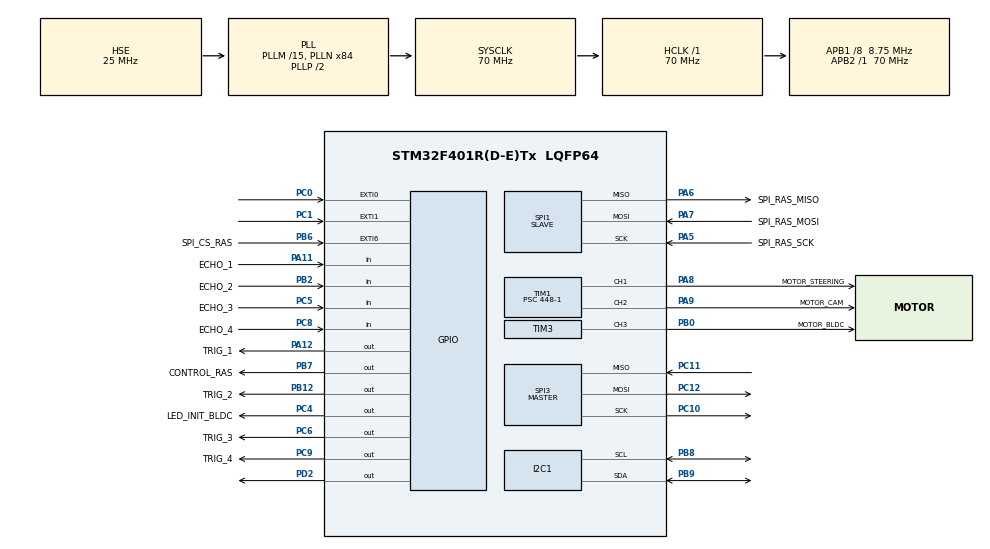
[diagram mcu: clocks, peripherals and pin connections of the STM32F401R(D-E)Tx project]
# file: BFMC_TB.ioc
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FREERTOS.Tasks01=getDataIMU,2,128,StartgetDataIMU,Default,NULL,Dynamic,NULL,NULL;situation,1,128,StartSituation,Default,NULL,Dynamic,NULL,NULL;controlSteering,-1,128,StartControlSteering,Default,NULL,Dynamic,NULL,NULL;ps2Control,2,128,startps2Control,Default,NULL,Dynamic,NULL,NULL;receiveDataSpi,2,128,StartreceiveDataSpi,Default,NULL,Dynamic,NULL,NULL;getDistance_SR0,3,128,StartgetDistance_SR04,Default,NULL,Dynamic,NULL,NULL
FREERTOS.configENABLE_FPU=1
FREERTOS.configUSE_TIMERS=1
I2C1.I2C_Mode=I2C_Fast
Mcu.Family=STM32F4
Mcu.Name=STM32F401R(D-E)Tx
Mcu.Package=LQFP64
NVIC.EXTI0_IRQn=true\:5\:0\:false\:false\:true\:true\:true\:true\:true
NVIC.EXTI1_IRQn=true\:5\:0\:false\:false\:true\:true\:true\:true\:true
NVIC.EXTI9_5_IRQn=true\:5\:0\:true\:false\:true\:true\:true\:true\:true
NVIC.PriorityGroup=NVIC_PRIORITYGROUP_4
NVIC.SPI1_IRQn=true\:5\:0\:false\:false\:true\:true\:true\:true\:true
NVIC.TIM5_IRQn=true\:15\:0\:false\:false\:true\:false\:false\:true\:true
NVIC.TimeBase=TIM5_IRQn
NVIC.TimeBaseIP=TIM5
PA11.GPIO_Label=ECHO_1
PA11.Signal=GPIO_Input
PA12.GPIO_Label=TRIG_1
PA12.Signal=GPIO_Output
PA13.Mode=Serial_Wire
PA13.Signal=SYS_JTMS-SWDIO
PA14.Mode=Serial_Wire
PA14.Signal=SYS_JTCK-SWCLK
PA5.GPIO_Label=SPI_RAS_SCK
PA5.Mode=Full_Duplex_Slave
PA5.Signal=SPI1_SCK
PA6.GPIO_Label=SPI_RAS_MISO
PA6.Mode=Full_Duplex_Slave
PA6.Signal=SPI1_MISO
PA7.GPIO_Label=SPI_RAS_MOSI
PA7.Mode=Full_Duplex_Slave
PA7.Signal=SPI1_MOSI
PA8.GPIO_Label=MOTOR_STEERING
PA8.Signal=S_TIM1_CH1
PA9.GPIO_Label=MOTOR_CAM
PA9.Signal=S_TIM1_CH2
PB0.GPIO_Label=MOTOR_BLDC
PB0.Signal=S_TIM3_CH3
PB12.GPIO_Label=TRIG_2
PB12.Signal=GPIO_Output
PB2.GPIO_Label=ECHO_2
PB2.GPIO_PuPd=GPIO_NOPULL
PB2.Signal=GPIO_Input
PB6.GPIO_Label=SPI_CS_RAS
PB6.GPIO_ModeDefaultEXTI=GPIO_MODE_IT_RISING_FALLING
PB6.GPIO_PuPd=GPIO_PULLUP
PB6.Signal=GPXTI6
PB7.GPIO_Label=CONTROL_RAS
PB7.Signal=GPIO_Output
PB8.Mode=I2C
PB8.Signal=I2C1_SCL
PB9.Mode=I2C
PB9.Signal=I2C1_SDA
PC0.GPIO_ModeDefaultEXTI=GPIO_MODE_IT_RISING_FALLING
PC0.GPIO_PuPd=GPIO_PULLUP
PC0.Signal=GPXTI0
PC1.GPIO_ModeDefaultEXTI=GPIO_MODE_IT_RISING_FALLING
PC1.GPIO_PuPd=GPIO_PULLUP
PC1.Signal=GPXTI1
PC10.Mode=Full_Duplex_Master
PC10.Signal=SPI3_SCK
PC11.Mode=Full_Duplex_Master
PC11.Signal=SPI3_MISO
PC12.Mode=Full_Duplex_Master
PC12.Signal=SPI3_MOSI
PC4.GPIO_Label=LED_INIT_BLDC
PC4.Signal=GPIO_Output
PC5.GPIO_Label=ECHO_3
PC5.Signal=GPIO_Input
PC6.GPIO_Label=TRIG_3
PC6.Signal=GPIO_Output
PC8.GPIO_Label=ECHO_4
PC8.Signal=GPIO_Input
PC9.GPIO_Label=TRIG_4
PC9.Signal=GPIO_Output
PD2.Signal=GPIO_Output
PH0\ -\ OSC_IN.Mode=HSE-External-Oscillator
PH0\ -\ OSC_IN.Signal=RCC_OSC_IN
PH1\ -\ OSC_OUT.Mode=HSE-External-Oscillator
PH1\ -\ OSC_OUT.Signal=RCC_OSC_OUT
ProjectManager.HeapSize=0x200
ProjectManager.StackSize=0x400
ProjectManager.TargetToolchain=STM32CubeIDE
RCC.48MHZClocksFreq_Value=35000000
RCC.AHBFreq_Value=70000000
RCC.APB1CLKDivider=RCC_HCLK_DIV8
RCC.APB1Freq_Value=8750000
RCC.APB1TimFreq_Value=17500000
RCC.APB2Freq_Value=70000000
RCC.APB2TimFreq_Value=70000000
RCC.CortexFreq_Value=70000000
RCC.HCLKFreq_Value=70000000
RCC.HSE_VALUE=25000000
RCC.HSI_VALUE=16000000
RCC.LSE_VALUE=32768
RCC.PLLM=15
RCC.PLLN=84
RCC.PLLSourceVirtual=RCC_PLLSOURCE_HSE
RCC.SYSCLKFreq_VALUE=70000000
RCC.SYSCLKSource=RCC_SYSCLKSOURCE_PLLCLK
RCC.VCOOutputFreq_Value=140000000
SH.S_TIM1_CH1.0=TIM1_CH1,PWM Generation1 CH1
SH.S_TIM1_CH2.0=TIM1_CH2,PWM Generation2 CH2
SH.S_TIM3_CH3.0=TIM3_CH3,PWM Generation3 CH3
SPI1.CLKPhase=SPI_PHASE_2EDGE
SPI1.DataSize=SPI_DATASIZE_16BIT
SPI1.Direction=SPI_DIRECTION_2LINES
SPI1.Mode=SPI_MODE_SLAVE
SPI1.VirtualType=VM_SLAVE
SPI3.BaudRatePrescaler=SPI_BAUDRATEPRESCALER_128
SPI3.CLKPhase=SPI_PHASE_2EDGE
SPI3.CLKPolarity=SPI_POLARITY_HIGH
SPI3.Direction=SPI_DIRECTION_2LINES
SPI3.FirstBit=SPI_FIRSTBIT_LSB
SPI3.Mode=SPI_MODE_MASTER
SPI3.VirtualType=VM_MASTER
TIM1.Channel-PWM\ Generation1\ CH1=TIM_CHANNEL_1
TIM1.Channel-PWM\ Generation2\ CH2=TIM_CHANNEL_2
TIM1.Period=1000-1
TIM1.Prescaler=448-1
TIM3.Channel-PWM\ Generation3\ CH3=TIM_CHANNEL_3
TIM3.Period=1000-1
TIM3.Prescaler=112-1
TIM4.Channel-PWM\ Generation2\ CH2=TIM_CHANNEL_2
TIM4.Prescaler=70-1
VP_FREERTOS_VS_CMSIS_V1.Mode=CMSIS_V1
VP_SYS_VS_tim5.Mode=TIM5
VP_TIM3_VS_ClockSourceINT.Mode=Internal
VP_TIM4_VS_ClockSourceINT.Mode=Internal
board=custom

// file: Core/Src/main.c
/* USER CODE BEGIN Header */
/**
 ******************************************************************************
 * @file           : main.c
 * @brief          : Main program body
 ******************************************************************************
 * @attention
 *
 * Copyright (c) 2024 STMicroelectronics.
 * All rights reserved.
 *
 * This software is licensed under terms that can be found in the LICENSE file
 * in the root directory of this software component.
 * If no LICENSE file comes with this software, it is provided AS-IS.
 *
 ******************************************************************************
 */
/* USER CODE END Header */
#include "main.h"
#include "cmsis_os.h"

/* USER CODE BEGIN Includes */
#include "bldc_motor.h"
#include "hc_sr04.h"
#include "servo_motor.h"
#include "ps2.h"
#include "mpu9250_app.h"
#include "debug.h"
#include "situation.h"

/* USER CODE END Includes */

I2C_HandleTypeDef hi2c1;

SPI_HandleTypeDef hspi1;
SPI_HandleTypeDef hspi3;

TIM_HandleTypeDef htim1;
TIM_HandleTypeDef htim3;
TIM_HandleTypeDef htim4;

osThreadId getDataIMUHandle;
osThreadId situationHandle;
osThreadId controlSteeringHandle;
osThreadId ps2ControlHandle;
osThreadId receiveDataSpiHandle;
osThreadId getDistance_SR0Handle;
/* USER CODE BEGIN PV */

// Queue send data
static QueueHandle_t queue_data = NULL;

// EventGroup
static EventGroupHandle_t controlEvent;

// Semaphore enable receive data
static SemaphoreHandle_t receiveSemaphore;

// BLDC motor driver

static bldc_motor_t *bldc_motor_0;
// Servo Motor driver

static servo_motor_t *steering_motor_p;

// SR04 measure distance from car to barrier

static SR04Driver_t *sr04_0;
static SR04Driver_t *sr04_1;
static SR04Driver_t *sr04_2;
static SR04Driver_t *sr04_3;

static sr04_state_t state_sr04;

static servo_motor_t *camera_motor_p;

// imu9250

static imu_9250_t *imu_9250_p;
uint16_t error;
static Struct_Angle Angle;
uint32_t temp_systick = 0;
static float yaw_angle_init = 0;
// Variable of SPI

// data is receive from spi communication
uint8_t data_receiv;

// array store data after receiving from spi communication
static uint8_t spi_buff[5];

// index in array, position of data
uint8_t spi_datapos = 0;

// flag notify complete receive data
static uint8_t spi_flag = 0;

/* USER CODE END PV */

void SystemClock_Config(void);
static void MX_GPIO_Init(void);
static void MX_I2C1_Init(void);
static void MX_SPI1_Init(void);
static void MX_TIM1_Init(void);
static void MX_TIM3_Init(void);
static void MX_TIM4_Init(void);
static void MX_SPI3_Init(void);
void StartgetDataIMU(void const * argument);
void StartSituation(void const * argument);
void StartControlSteering(void const * argument);
void startps2Control(void const * argument);
void StartreceiveDataSpi(void const * argument);
void StartgetDistance_SR04(void const * argument);

/* USER CODE BEGIN 0 */
extern void calibrateGyro(imu_9250_t *mpu9250, uint16_t numCalPoints);

// Interrupt function of spi (RX)

void HAL_SPI_RxCpltCallback(SPI_HandleTypeDef *hspi)
{
    BaseType_t xhigherprioritytaskwoken = pdFALSE;
    if (hspi->Instance == hspi1.Instance)
    {
        HAL_SPI_Receive_IT(&hspi1, &data_receiv, 1);

		spi_buff[(spi_datapos++)] = data_receiv;
		if (spi_datapos == 5)
		{
			spi_datapos = 0;
			spi_flag = 1;
		}
//      xTaskNotifyFromISR(receiveDataSpiHandle, 0, eNotifyAction, &xhigherprioritytaskwoken);
    }
    if(xhigherprioritytaskwoken)
    {
    	taskYIELD();
    }
}

void HAL_GPIO_EXTI_Callback(uint16_t GPIO_Pin)
{
    /*if (GPIO_Pin == GPIO_PIN_1)
    {
        if (((GPIOC->IDR) & (0b00000010)) == 0)
        else
        {
            spi_flag++;
        }
        spi_datapos = 0;
    }*/
}
static inline void SPI_Handle_Data(void)
{
//  if (spi_flag == 1)
//  {
//    // send queue
//    xQueueSend(queue_data, (void *)&rx_buff, 0);
//    spi_flag = 0;
//  }

}

/* USER CODE END 0 */

int main(void)
{

  /* MCU Configuration--------------------------------------------------------*/

  /* Reset of all peripherals, Initializes the Flash interface and the Systick. */
  HAL_Init();

  /* Configure the system clock */
  SystemClock_Config();

  /* Initialize all configured peripherals */
  MX_GPIO_Init();
  MX_I2C1_Init();
  MX_SPI1_Init();
  MX_TIM1_Init();
  MX_TIM3_Init();
  MX_TIM4_Init();
  MX_SPI3_Init();
  /* USER CODE BEGIN 2 */

  // Initialization driver
  bldc_motor_0 = BLDC_MOTOR_Create(&htim3, TIM_CHANNEL_3);
  steering_motor_p = SERVO_MOTOR_Create(&htim1, TIM_CHANNEL_1);
  HAL_Delay(2000);
  bldc_motor_0->speed = MEDIUM_SPEED;
  bldc_motor_0->direction = COUNTER_CLOCKWISE;
  bldc_motor_0->set_speed(bldc_motor_0);

  controlEvent = xEventGroupCreate();
  queue_data = xQueueCreate(5, sizeof(uint8_t));
  receiveSemaphore = xSemaphoreCreateBinary();

  camera_motor_p = SERVO_MOTOR_Create(&htim1, TIM_CHANNEL_2);

  sr04_0 = SR04_Create(&htim4, TRIG_1_GPIO_Port, TRIG_1_Pin, ECHO_1_GPIO_Port, ECHO_1_Pin);
  sr04_1 = SR04_Create(&htim4, TRIG_2_GPIO_Port, TRIG_2_Pin, ECHO_2_GPIO_Port, ECHO_2_Pin);
  sr04_2 = SR04_Create(&htim4, TRIG_3_GPIO_Port, TRIG_3_Pin, ECHO_3_GPIO_Port, ECHO_3_Pin);
  sr04_3 = SR04_Create(&htim4, TRIG_4_GPIO_Port, TRIG_4_Pin, ECHO_4_GPIO_Port, ECHO_4_Pin);
  imu_9250_p = IMU_9250_Create();
  calibrateGyro(imu_9250_p, 999);

  /* USER CODE END 2 */

  /* Create the thread(s) */
  /* definition and creation of getDataIMU */
  osThreadDef(getDataIMU, StartgetDataIMU, osPriorityHigh, 0, 128);
  getDataIMUHandle = osThreadCreate(osThread(getDataIMU), NULL);

  /* definition and creation of situation */
  osThreadDef(situation, StartSituation, osPriorityAboveNormal, 0, 128);
  situationHandle = osThreadCreate(osThread(situation), NULL);

  /* definition and creation of controlSteering */
  osThreadDef(controlSteering, StartControlSteering, osPriorityBelowNormal, 0, 128);
  controlSteeringHandle = osThreadCreate(osThread(controlSteering), NULL);

  /* definition and creation of ps2Control */
  osThreadDef(ps2Control, startps2Control, osPriorityHigh, 0, 128);
  ps2ControlHandle = osThreadCreate(osThread(ps2Control), NULL);

  /* definition and creation of receiveDataSpi */
  osThreadDef(receiveDataSpi, StartreceiveDataSpi, osPriorityHigh, 0, 128);
  receiveDataSpiHandle = osThreadCreate(osThread(receiveDataSpi), NULL);

  /* definition and creation of getDistance_SR0 */
  osThreadDef(getDistance_SR0, StartgetDistance_SR04, osPriorityRealtime, 0, 128);
  getDistance_SR0Handle = osThreadCreate(osThread(getDistance_SR0), NULL);

  /* Start scheduler */
  osKernelStart();

  /* We should never get here as control is now taken by the scheduler */
  /* Infinite loop */
  while (1)
  {

  }
}

void SystemClock_Config(void)
{
  RCC_OscInitTypeDef RCC_OscInitStruct = {0};
  RCC_ClkInitTypeDef RCC_ClkInitStruct = {0};

  /** Configure the main internal regulator output voltage
  */
  __HAL_RCC_PWR_CLK_ENABLE();
  __HAL_PWR_VOLTAGESCALING_CONFIG(PWR_REGULATOR_VOLTAGE_SCALE2);

  /** Initializes the RCC Oscillators according to the specified parameters
  * in the RCC_OscInitTypeDef structure.
  */
  RCC_OscInitStruct.OscillatorType = RCC_OSCILLATORTYPE_HSE;
  RCC_OscInitStruct.HSEState = RCC_HSE_ON;
  RCC_OscInitStruct.PLL.PLLState = RCC_PLL_ON;
  RCC_OscInitStruct.PLL.PLLSource = RCC_PLLSOURCE_HSE;
  RCC_OscInitStruct.PLL.PLLM = 15;
  RCC_OscInitStruct.PLL.PLLN = 84;
  RCC_OscInitStruct.PLL.PLLP = RCC_PLLP_DIV2;
  RCC_OscInitStruct.PLL.PLLQ = 4;
  if (HAL_RCC_OscConfig(&RCC_OscInitStruct) != HAL_OK)
  {
    Error_Handler();
  }

  /** Initializes the CPU, AHB and APB buses clocks
  */
  RCC_ClkInitStruct.ClockType = RCC_CLOCKTYPE_HCLK|RCC_CLOCKTYPE_SYSCLK
                              |RCC_CLOCKTYPE_PCLK1|RCC_CLOCKTYPE_PCLK2;
  RCC_ClkInitStruct.SYSCLKSource = RCC_SYSCLKSOURCE_PLLCLK;
  RCC_ClkInitStruct.AHBCLKDivider = RCC_SYSCLK_DIV1;
  RCC_ClkInitStruct.APB1CLKDivider = RCC_HCLK_DIV8;
  RCC_ClkInitStruct.APB2CLKDivider = RCC_HCLK_DIV1;

  if (HAL_RCC_ClockConfig(&RCC_ClkInitStruct, FLASH_LATENCY_2) != HAL_OK)
  {
    Error_Handler();
  }
}

static void MX_I2C1_Init(void)
{

  hi2c1.Instance = I2C1;
  hi2c1.Init.ClockSpeed = 400000;
  hi2c1.Init.DutyCycle = I2C_DUTYCYCLE_2;
  hi2c1.Init.OwnAddress1 = 0;
  hi2c1.Init.AddressingMode = I2C_ADDRESSINGMODE_7BIT;
  hi2c1.Init.DualAddressMode = I2C_DUALADDRESS_DISABLE;
  hi2c1.Init.OwnAddress2 = 0;
  hi2c1.Init.GeneralCallMode = I2C_GENERALCALL_DISABLE;
  hi2c1.Init.NoStretchMode = I2C_NOSTRETCH_DISABLE;
  if (HAL_I2C_Init(&hi2c1) != HAL_OK)
  {
    Error_Handler();
  }

}

static void MX_SPI1_Init(void)
{

  /* SPI1 parameter configuration*/
  hspi1.Instance = SPI1;
  hspi1.Init.Mode = SPI_MODE_SLAVE;
  hspi1.Init.Direction = SPI_DIRECTION_2LINES;
  hspi1.Init.DataSize = SPI_DATASIZE_16BIT;
  hspi1.Init.CLKPolarity = SPI_POLARITY_LOW;
  hspi1.Init.CLKPhase = SPI_PHASE_2EDGE;
  hspi1.Init.NSS = SPI_NSS_SOFT;
  hspi1.Init.FirstBit = SPI_FIRSTBIT_MSB;
  hspi1.Init.TIMode = SPI_TIMODE_DISABLE;
  hspi1.Init.CRCCalculation = SPI_CRCCALCULATION_DISABLE;
  hspi1.Init.CRCPolynomial = 10;
  if (HAL_SPI_Init(&hspi1) != HAL_OK)
  {
    Error_Handler();
  }

}

static void MX_SPI3_Init(void)
{

  /* SPI3 parameter configuration*/
  hspi3.Instance = SPI3;
  hspi3.Init.Mode = SPI_MODE_MASTER;
  hspi3.Init.Direction = SPI_DIRECTION_2LINES;
  hspi3.Init.DataSize = SPI_DATASIZE_8BIT;
  hspi3.Init.CLKPolarity = SPI_POLARITY_HIGH;
  hspi3.Init.CLKPhase = SPI_PHASE_2EDGE;
  hspi3.Init.NSS = SPI_NSS_SOFT;
  hspi3.Init.BaudRatePrescaler = SPI_BAUDRATEPRESCALER_128;
  hspi3.Init.FirstBit = SPI_FIRSTBIT_LSB;
  hspi3.Init.TIMode = SPI_TIMODE_DISABLE;
  hspi3.Init.CRCCalculation = SPI_CRCCALCULATION_DISABLE;
  hspi3.Init.CRCPolynomial = 10;
  if (HAL_SPI_Init(&hspi3) != HAL_OK)
  {
    Error_Handler();
  }

}

static void MX_TIM1_Init(void)
{

  TIM_MasterConfigTypeDef sMasterConfig = {0};
  TIM_OC_InitTypeDef sConfigOC = {0};
  TIM_BreakDeadTimeConfigTypeDef sBreakDeadTimeConfig = {0};

  htim1.Instance = TIM1;
  htim1.Init.Prescaler = 448-1;
  htim1.Init.CounterMode = TIM_COUNTERMODE_UP;
  htim1.Init.Period = 1000-1;
  htim1.Init.ClockDivision = TIM_CLOCKDIVISION_DIV1;
  htim1.Init.RepetitionCounter = 0;
  htim1.Init.AutoReloadPreload = TIM_AUTORELOAD_PRELOAD_DISABLE;
  if (HAL_TIM_PWM_Init(&htim1) != HAL_OK)
  {
    Error_Handler();
  }
  sMasterConfig.MasterOutputTrigger = TIM_TRGO_RESET;
  sMasterConfig.MasterSlaveMode = TIM_MASTERSLAVEMODE_DISABLE;
  if (HAL_TIMEx_MasterConfigSynchronization(&htim1, &sMasterConfig) != HAL_OK)
  {
    Error_Handler();
  }
  sConfigOC.OCMode = TIM_OCMODE_PWM1;
  sConfigOC.Pulse = 0;
  sConfigOC.OCPolarity = TIM_OCPOLARITY_HIGH;
  sConfigOC.OCNPolarity = TIM_OCNPOLARITY_HIGH;
  sConfigOC.OCFastMode = TIM_OCFAST_DISABLE;
  sConfigOC.OCIdleState = TIM_OCIDLESTATE_RESET;
  sConfigOC.OCNIdleState = TIM_OCNIDLESTATE_RESET;
  if (HAL_TIM_PWM_ConfigChannel(&htim1, &sConfigOC, TIM_CHANNEL_1) != HAL_OK)
  {
    Error_Handler();
  }
  if (HAL_TIM_PWM_ConfigChannel(&htim1, &sConfigOC, TIM_CHANNEL_2) != HAL_OK)
  {
    Error_Handler();
  }
  sBreakDeadTimeConfig.OffStateRunMode = TIM_OSSR_DISABLE;
  sBreakDeadTimeConfig.OffStateIDLEMode = TIM_OSSI_DISABLE;
  sBreakDeadTimeConfig.LockLevel = TIM_LOCKLEVEL_OFF;
  sBreakDeadTimeConfig.DeadTime = 0;
  sBreakDeadTimeConfig.BreakState = TIM_BREAK_DISABLE;
  sBreakDeadTimeConfig.BreakPolarity = TIM_BREAKPOLARITY_HIGH;
  sBreakDeadTimeConfig.AutomaticOutput = TIM_AUTOMATICOUTPUT_DISABLE;
  if (HAL_TIMEx_ConfigBreakDeadTime(&htim1, &sBreakDeadTimeConfig) != HAL_OK)
  {
    Error_Handler();
  }
  HAL_TIM_MspPostInit(&htim1);

}

static void MX_TIM3_Init(void)
{

  TIM_ClockConfigTypeDef sClockSourceConfig = {0};
  TIM_MasterConfigTypeDef sMasterConfig = {0};
  TIM_OC_InitTypeDef sConfigOC = {0};

  htim3.Instance = TIM3;
  htim3.Init.Prescaler = 112-1;
  htim3.Init.CounterMode = TIM_COUNTERMODE_UP;
  htim3.Init.Period = 1000-1;
  htim3.Init.ClockDivision = TIM_CLOCKDIVISION_DIV1;
  htim3.Init.AutoReloadPreload = TIM_AUTORELOAD_PRELOAD_DISABLE;
  if (HAL_TIM_Base_Init(&htim3) != HAL_OK)
  {
    Error_Handler();
  }
  sClockSourceConfig.ClockSource = TIM_CLOCKSOURCE_INTERNAL;
  if (HAL_TIM_ConfigClockSource(&htim3, &sClockSourceConfig) != HAL_OK)
  {
    Error_Handler();
  }
  if (HAL_TIM_PWM_Init(&htim3) != HAL_OK)
  {
    Error_Handler();
  }
  sMasterConfig.MasterOutputTrigger = TIM_TRGO_RESET;
  sMasterConfig.MasterSlaveMode = TIM_MASTERSLAVEMODE_DISABLE;
  if (HAL_TIMEx_MasterConfigSynchronization(&htim3, &sMasterConfig) != HAL_OK)
  {
    Error_Handler();
  }
  sConfigOC.OCMode = TIM_OCMODE_PWM1;
  sConfigOC.Pulse = 0;
  sConfigOC.OCPolarity = TIM_OCPOLARITY_HIGH;
  sConfigOC.OCFastMode = TIM_OCFAST_DISABLE;
  if (HAL_TIM_PWM_ConfigChannel(&htim3, &sConfigOC, TIM_CHANNEL_3) != HAL_OK)
  {
    Error_Handler();
  }
  HAL_TIM_MspPostInit(&htim3);

}

static void MX_TIM4_Init(void)
{

  TIM_ClockConfigTypeDef sClockSourceConfig = {0};
  TIM_MasterConfigTypeDef sMasterConfig = {0};

  htim4.Instance = TIM4;
  htim4.Init.Prescaler = 70-1;
  htim4.Init.CounterMode = TIM_COUNTERMODE_UP;
  htim4.Init.Period = 65535;
  htim4.Init.ClockDivision = TIM_CLOCKDIVISION_DIV1;
  htim4.Init.AutoReloadPreload = TIM_AUTORELOAD_PRELOAD_DISABLE;
  if (HAL_TIM_Base_Init(&htim4) != HAL_OK)
  {
    Error_Handler();
  }
  sClockSourceConfig.ClockSource = TIM_CLOCKSOURCE_INTERNAL;
  if (HAL_TIM_ConfigClockSource(&htim4, &sClockSourceConfig) != HAL_OK)
  {
    Error_Handler();
  }
  sMasterConfig.MasterOutputTrigger = TIM_TRGO_RESET;
  sMasterConfig.MasterSlaveMode = TIM_MASTERSLAVEMODE_DISABLE;
  if (HAL_TIMEx_MasterConfigSynchronization(&htim4, &sMasterConfig) != HAL_OK)
  {
    Error_Handler();
  }

}

static void MX_GPIO_Init(void)
{
  GPIO_InitTypeDef GPIO_InitStruct = {0};

  /* GPIO Ports Clock Enable */
  __HAL_RCC_GPIOH_CLK_ENABLE();
  __HAL_RCC_GPIOC_CLK_ENABLE();
  __HAL_RCC_GPIOA_CLK_ENABLE();
  __HAL_RCC_GPIOB_CLK_ENABLE();
  __HAL_RCC_GPIOD_CLK_ENABLE();

  /*Configure GPIO pin Output Level */
  HAL_GPIO_WritePin(GPIOC, LED_INIT_BLDC_Pin|TRIG_3_Pin|TRIG_4_Pin, GPIO_PIN_RESET);

  /*Configure GPIO pin Output Level */
  HAL_GPIO_WritePin(GPIOB, TRIG_2_Pin|CONTROL_RAS_Pin, GPIO_PIN_RESET);

  /*Configure GPIO pin Output Level */
  HAL_GPIO_WritePin(TRIG_1_GPIO_Port, TRIG_1_Pin, GPIO_PIN_RESET);

  /*Configure GPIO pin Output Level */
  HAL_GPIO_WritePin(GPIOD, GPIO_PIN_2, GPIO_PIN_RESET);

  /*Configure GPIO pins : PC0 PC1 */
  GPIO_InitStruct.Pin = GPIO_PIN_0|GPIO_PIN_1;
  GPIO_InitStruct.Mode = GPIO_MODE_IT_RISING_FALLING;
  GPIO_InitStruct.Pull = GPIO_PULLUP;
  HAL_GPIO_Init(GPIOC, &GPIO_InitStruct);

  /*Configure GPIO pins : LED_INIT_BLDC_Pin TRIG_3_Pin TRIG_4_Pin */
  GPIO_InitStruct.Pin = LED_INIT_BLDC_Pin|TRIG_3_Pin|TRIG_4_Pin;
  GPIO_InitStruct.Mode = GPIO_MODE_OUTPUT_PP;
  GPIO_InitStruct.Pull = GPIO_NOPULL;
  GPIO_InitStruct.Speed = GPIO_SPEED_FREQ_LOW;
  HAL_GPIO_Init(GPIOC, &GPIO_InitStruct);

  /*Configure GPIO pins : ECHO_3_Pin ECHO_4_Pin */
  GPIO_InitStruct.Pin = ECHO_3_Pin|ECHO_4_Pin;
  GPIO_InitStruct.Mode = GPIO_MODE_INPUT;
  GPIO_InitStruct.Pull = GPIO_NOPULL;
  HAL_GPIO_Init(GPIOC, &GPIO_InitStruct);

  /*Configure GPIO pin : ECHO_2_Pin */
  GPIO_InitStruct.Pin = ECHO_2_Pin;
  GPIO_InitStruct.Mode = GPIO_MODE_INPUT;
  GPIO_InitStruct.Pull = GPIO_NOPULL;
  HAL_GPIO_Init(ECHO_2_GPIO_Port, &GPIO_InitStruct);

  /*Configure GPIO pins : TRIG_2_Pin CONTROL_RAS_Pin */
  GPIO_InitStruct.Pin = TRIG_2_Pin|CONTROL_RAS_Pin;
  GPIO_InitStruct.Mode = GPIO_MODE_OUTPUT_PP;
  GPIO_InitStruct.Pull = GPIO_NOPULL;
  GPIO_InitStruct.Speed = GPIO_SPEED_FREQ_LOW;
  HAL_GPIO_Init(GPIOB, &GPIO_InitStruct);

  /*Configure GPIO pin : ECHO_1_Pin */
  GPIO_InitStruct.Pin = ECHO_1_Pin;
  GPIO_InitStruct.Mode = GPIO_MODE_INPUT;
  GPIO_InitStruct.Pull = GPIO_NOPULL;
  HAL_GPIO_Init(ECHO_1_GPIO_Port, &GPIO_InitStruct);

  /*Configure GPIO pin : TRIG_1_Pin */
  GPIO_InitStruct.Pin = TRIG_1_Pin;
  GPIO_InitStruct.Mode = GPIO_MODE_OUTPUT_PP;
  GPIO_InitStruct.Pull = GPIO_NOPULL;
  GPIO_InitStruct.Speed = GPIO_SPEED_FREQ_LOW;
  HAL_GPIO_Init(TRIG_1_GPIO_Port, &GPIO_InitStruct);

  /*Configure GPIO pin : PD2 */
  GPIO_InitStruct.Pin = GPIO_PIN_2;
  GPIO_InitStruct.Mode = GPIO_MODE_OUTPUT_PP;
  GPIO_InitStruct.Pull = GPIO_NOPULL;
  GPIO_InitStruct.Speed = GPIO_SPEED_FREQ_LOW;
  HAL_GPIO_Init(GPIOD, &GPIO_InitStruct);

  /*Configure GPIO pin : SPI_CS_RAS_Pin */
  GPIO_InitStruct.Pin = SPI_CS_RAS_Pin;
  GPIO_InitStruct.Mode = GPIO_MODE_IT_RISING_FALLING;
  GPIO_InitStruct.Pull = GPIO_PULLUP;
  HAL_GPIO_Init(SPI_CS_RAS_GPIO_Port, &GPIO_InitStruct);

  /* EXTI interrupt init*/
  HAL_NVIC_SetPriority(EXTI0_IRQn, 5, 0);
  HAL_NVIC_EnableIRQ(EXTI0_IRQn);

  HAL_NVIC_SetPriority(EXTI1_IRQn, 5, 0);
  HAL_NVIC_EnableIRQ(EXTI1_IRQn);

  HAL_NVIC_SetPriority(EXTI9_5_IRQn, 5, 0);
  HAL_NVIC_EnableIRQ(EXTI9_5_IRQn);

}

void StartgetDataIMU(void const * argument)
{
  /* USER CODE BEGIN 5 */
  /* Infinite loop */
  for (;;)
  {
    EventBits_t uxBits = xEventGroupWaitBits(controlEvent,
                                             BARRIER_AVOID,
                                             pdFALSE, pdFALSE, portMAX_DELAY);
    if (uxBits & BARRIER_AVOID)
    {
      imu_9250_p->get_data(imu_9250_p);
      CalculateGyroAngle(&Angle, imu_9250_p);
      if (yaw_angle_init - Angle.gyro_yaw >= LANE_CHANGE_ANGLE)
      {
        xEventGroupSetBits(controlEvent, STEERING_NONE_CONTROL_BIT);
        steering_motor_p->duty_steering = DUTY_CYCLE_MAX_RIGHT;
      }
      else if ((yaw_angle_init - Angle.gyro_yaw < STEERING_CHANGE_ANGLE) &&
               (yaw_angle_init - Angle.gyro_yaw > -STEERING_CHANGE_ANGLE))
      {
        state_sr04.state_right = 1;
        vTaskSuspend(getDataIMUHandle);
      }
      else if (yaw_angle_init - Angle.gyro_yaw >= -LANE_CHANGE_ANGLE)
      {
        xEventGroupSetBits(controlEvent, STEERING_NONE_CONTROL_BIT);
        steering_motor_p->duty_steering = DUTY_CYCLE_MAX_LEFT;
        vTaskSuspend(getDataIMUHandle);
      }

      if ((HAL_GetTick() - temp_systick) == 3000)
      {
        temp_systick = 0;
        MPU9250_Writebyte(MPU9250_PWR_MGMT_1, 0x1 << 7);
        osDelay(100);
        MPU9250_Writebyte(MPU9250_PWR_MGMT_1, 0x00);
        osDelay(50);
      }
    }

    osDelay(10);
  }
  /* USER CODE END 5 */
}

void StartSituation(void const * argument)
{
  /* USER CODE BEGIN StartSituation */
  uint8_t buffer[5];
  uint8_t condition;
  /* Infinite loop */
  for (;;)
  {
    if (xQueueReceive(queue_data, buffer, portMAX_DELAY))
    {
      switch (buffer[0])
      {
      case DISTANCE_LANE:

        xEventGroupSetBits(controlEvent, SPEEDING_BIT | STEERING_CONTROL_BIT);
        break;
      case TRAFFIC_SIGNS:
        if (buffer[1] == TRAFFIC_SIGN_CROSSWALK)
        {
          condition = 0;
        }
        else
        {
          condition = 1;
        }
        xEventGroupSetBits(controlEvent, SPEEDING_BIT | STEERING_CONTROL_BIT);
        break;
      case TRAFFIC_LIGHTS:
        xEventGroupSetBits(controlEvent, SPEEDING_BIT);
        break;
      case INDEFINITE_LANE:
        xEventGroupSetBits(controlEvent, SPEEDING_BIT | CAMERA_BIT);
        break;
      case BARRIER:
        if (condition == 1)
        {
          steering_motor_p->duty_steering = DUTY_CYCLE_MAX_LEFT;
          CalculateGyroAngle(&Angle, imu_9250_p);
          yaw_angle_init = Angle.gyro_yaw;
          vTaskResume(getDataIMUHandle);
          xEventGroupSetBits(controlEvent, SPEEDING_BIT | STEERING_NONE_CONTROL_BIT | BARRIER_AVOID);
          vTaskSuspend(situationHandle);
        }

        break;
      default:
        break;
      }
    }

    osDelay(1);
  }
  /* USER CODE END StartSituation */
}

void StartControlSteering(void const * argument)
{
  /* USER CODE BEGIN StartControlSteering */
  /* Infinite loop */
  for (;;)
  {
    EventBits_t uxBits = xEventGroupWaitBits(controlEvent,
                                             STEERING_CONTROL_BIT | STEERING_NONE_CONTROL_BIT,
                                             pdTRUE, pdFALSE, portMAX_DELAY);

    if (uxBits & STEERING_CONTROL_BIT)
    {
      // Control Steering
    }

    if (uxBits & STEERING_NONE_CONTROL_BIT)
    {
      steering_motor_p->set_steering(steering_motor_p);
    }

    osDelay(1);
  }
  /* USER CODE END StartControlSteering */
}

void startps2Control(void const * argument)
{
  /* USER CODE BEGIN startps2Control */
#if DEBUG_USER
  vTaskDelete(receiveDataSpiHandle);
  vTaskDelete(situationHandle);
  vTaskDelete(controlSteeringHandle);
  vTaskDelete(getDistance_SR0Handle);
  vTaskDelete(getDataIMUHandle);
  HAL_SPI_DeInit(&hspi1);
#else

  HAL_SPI_DeInit(&hspi3);
//  HAL_SPI_Receive_IT(&hspi1, &data_receiv, 1);
  vTaskDelete(ps2ControlHandle);
#endif
  /* Infinite loop */
  for (;;)
  {
    PS2_Data(GPIOD, GPIO_PIN_2, &hspi3, steering_motor_p, bldc_motor_0);
    osDelay(10);
  }
  /* USER CODE END startps2Control */
}

void StartreceiveDataSpi(void const * argument)
{
  /* USER CODE BEGIN StartreceiveDataSpi */
  /* Infinite loop */
  for (;;)
  {
    if (xSemaphoreTake(receiveSemaphore, portMAX_DELAY))
    {
//    	xTaskNotifyWait(0, 0, NULL, portMAX_DELAY);
      SPI_Handle_Data();
    }

    osDelay(1);
  }
  /* USER CODE END StartreceiveDataSpi */
}

void StartgetDistance_SR04(void const * argument)
{
  /* USER CODE BEGIN StartgetDistance_SR04 */
  /* Infinite loop */
  for (;;)
  {
    // 0: forward
    // 1: right
    // 2: back
    // 3: left

    // sr04_1->get_distance(sr04_1);
    // sr04_2->get_distance(sr04_2);
    // sr04_3->get_distance(sr04_3);
      HAL_SPI_Receive_IT(&hspi1, &data_receiv, 1);

//	  HAL_SPI_Receive_DMA(&hspi1, &data_receiv, 1);
//	  spi_buff[ii++] = data_receiv;
    if (sr04_0->get_distance(sr04_0) > DISTANCE_BARRIER)
    {
      HAL_GPIO_WritePin(CONTROL_RAS_GPIO_Port, CONTROL_RAS_Pin, 1);
      __HAL_SPI_ENABLE_IT(&hspi1, (SPI_IT_TXE | SPI_IT_RXNE | SPI_IT_ERR));
      xSemaphoreGive(receiveSemaphore);
    }
    else
    {
      HAL_GPIO_WritePin(CONTROL_RAS_GPIO_Port, CONTROL_RAS_Pin, 0);
//      __HAL_SPI_DISABLE_IT(&hspi1, (SPI_IT_TXE | SPI_IT_RXNE | SPI_IT_ERR));
    }

    if (state_sr04.state_right == 1)
    {
      if (sr04_1->get_distance(sr04_1) > DISTANCE_BESIDE_BARRIER)
      {

        state_sr04.state_right = 0;
        HAL_GPIO_WritePin(CONTROL_RAS_GPIO_Port, CONTROL_RAS_Pin, 0);
//        __HAL_SPI_DISABLE_IT(&hspi1, (SPI_IT_TXE | SPI_IT_RXNE | SPI_IT_ERR));
        CalculateGyroAngle(&Angle, imu_9250_p);
        yaw_angle_init = Angle.gyro_yaw;
        steering_motor_p->duty_steering = DUTY_CYCLE_MAX_RIGHT;
        xEventGroupSetBits(controlEvent, STEERING_NONE_CONTROL_BIT);
        osDelay(10);
        vTaskResume(getDataIMUHandle);
      }
      else
      {
        HAL_GPIO_WritePin(CONTROL_RAS_GPIO_Port, CONTROL_RAS_Pin, 1);
//        __HAL_SPI_ENABLE_IT(&hspi1, (SPI_IT_TXE | SPI_IT_RXNE | SPI_IT_ERR));
        xSemaphoreGive(receiveSemaphore);
      }
    }

    osDelay(1);
  }
  /* USER CODE END StartgetDistance_SR04 */
}

void HAL_TIM_PeriodElapsedCallback(TIM_HandleTypeDef *htim)
{
  if (htim->Instance == TIM5) {
    HAL_IncTick();
  }
}

void Error_Handler(void)
{
  __disable_irq();
  while (1)
  {
  }
}
